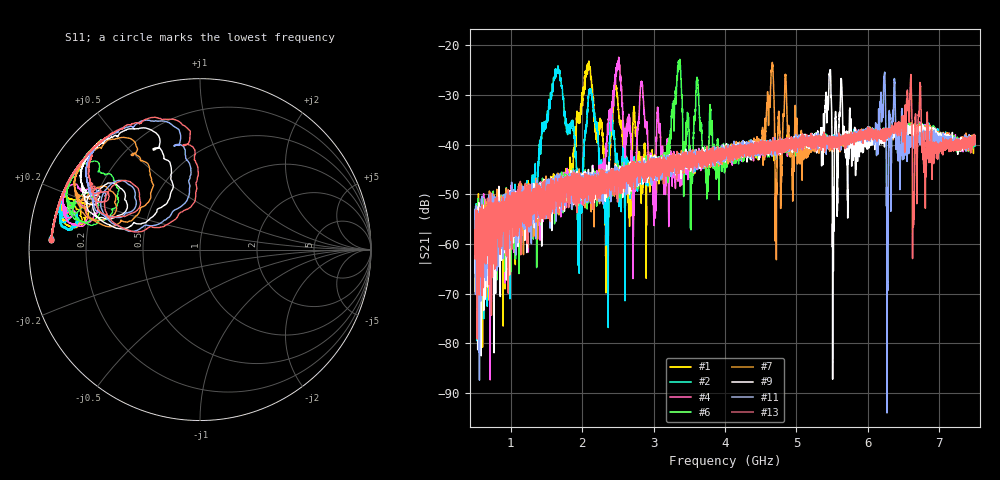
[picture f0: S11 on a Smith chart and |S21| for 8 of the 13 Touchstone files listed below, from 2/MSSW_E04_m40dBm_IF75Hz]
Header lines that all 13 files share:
!Keysight Technologies,M9374A,MY55442783,A.12.55.05
!Correction: S11(Full 2 Port(1,2))
!S21(Full 2 Port(1,2))
!S12(Full 2 Port(1,2))
!S22(Full 2 Port(1,2))
!S2P File: Measurements: S11, S21, S12, S22:
# Hz S  RI  R 50
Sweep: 500 MHz to 7.5 GHz
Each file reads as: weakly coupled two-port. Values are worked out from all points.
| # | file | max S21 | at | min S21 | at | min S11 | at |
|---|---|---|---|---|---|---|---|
| 1 | MSSW_E04_0.5.s2p | -23.20 dB | 2.095 GHz | -80.8 dB | 605 MHz | -3.3 dB | 2.114 GHz |
| 2 | MSSW_E04_0.s2p | -24.17 dB | 1.662 GHz | -79.4 dB | 526 MHz | -2.8 dB | 1.681 GHz |
| 3 | MSSW_E04_1.5.s2p | -22.44 dB | 2.94 GHz | -73.3 dB | 543 MHz | -4.6 dB | 2.95 GHz |
| 4 | MSSW_E04_1.s2p | -22.44 dB | 2.512 GHz | -87.3 dB | 711 MHz | -3.9 dB | 2.526 GHz |
| 5 | MSSW_E04_2.5.s2p | -23.17 dB | 3.8 GHz | -75.7 dB | 575 MHz | -6.0 dB | 3.807 GHz |
| 6 | MSSW_E04_2.s2p | -22.85 dB | 3.367 GHz | -77.5 dB | 544 MHz | -5.2 dB | 3.376 GHz |
| 7 | MSSW_E04_3.5.s2p | -23.48 dB | 4.663 GHz | -75.9 dB | 585 MHz | -7.8 dB | 4.67 GHz |
| 8 | MSSW_E04_3.s2p | -23.16 dB | 4.238 GHz | -74.9 dB | 525 MHz | -6.8 dB | 4.246 GHz |
| 9 | MSSW_E04_4.5.s2p | -24.94 dB | 5.476 GHz | -87.2 dB | 5.507 GHz | -9.6 dB | 5.476 GHz |
| 10 | MSSW_E04_4.s2p | -23.95 dB | 5.075 GHz | -72.2 dB | 613 MHz | -8.7 dB | 5.082 GHz |
| 11 | MSSW_E04_5.5.s2p | -25.44 dB | 6.236 GHz | -94.0 dB | 6.268 GHz | -11.6 dB | 6.256 GHz |
| 12 | MSSW_E04_5.s2p | -25.03 dB | 5.859 GHz | -79.8 dB | 5.903 GHz | -10.7 dB | 5.883 GHz |
| 13 | MSSW_E04_6.s2p | -25.92 dB | 6.603 GHz | -79.1 dB | 532 MHz | -12.8 dB | 6.622 GHz |
